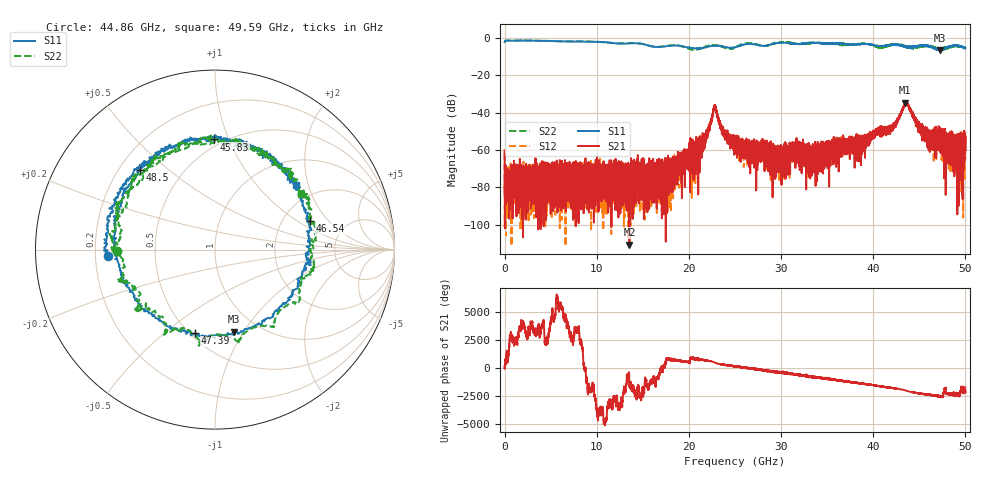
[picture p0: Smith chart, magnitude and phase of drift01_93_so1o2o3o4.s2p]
!Created with skrf (http://scikit-rf.org).
# Hz S RI R 50.0
!freq ReS11 ImS11 ReS21 ImS21 ReS12 ImS12 ReS22 ImS22
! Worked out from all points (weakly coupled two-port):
!   10001 points, 300 kHz to 50 GHz, reference 50 ohm
!   highest |S21| = -34.66 dB at 43.47 GHz (marker M1); lowest = -110.5 dB at 13.55 GHz (marker M2)
!   lowest |S11| = -6.6 dB at 47.21 GHz (marker M3), VSWR 2.77, Z = 38.5 - j45.2 ohm
!   |S11| at or under -10 dB: nowhere
!   |S22| runs from -6.6 to -1.4 dB; largest |S21 - S12| = 0.0042
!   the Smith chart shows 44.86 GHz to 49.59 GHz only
!   S11 on the Smith chart (normalised r, x): 44.86 GHz: 0.25, -0.03; 45.83 GHz: 0.45, +0.88; 46.54 GHz: 2.82, +1.30; 47.39 GHz: 0.53, -0.64; 48.5 GHz: 0.28, +0.40; 49.59 GHz: 1.55, +1.67
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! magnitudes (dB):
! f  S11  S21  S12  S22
! 300 kHz  -2.1  -60.2  -61.6  -2.1
! 440.3 MHz  -1.4  -74.7  -78.4  -1.4
! 8.335 GHz  -1.9  -73.7  -71.5  -1.8
! 13.55 GHz  -2.9  -110.5  -84.4  -2.7
! 16.67 GHz  -4.8  -69.3  -81.4  -4.8
! 20.99 GHz  -5.6  -57.1  -67.3  -6.1
! 22.8 GHz  -4.3  -36.4  -36.5  -4.0
! 23.72 GHz  -4.6  -50.1  -50.3  -4.9
! 25 GHz  -5.0  -57.4  -55.2  -5.1
! 29.49 GHz  -2.8  -68.5  -59.9  -2.7
! 31.59 GHz  -3.2  -59.2  -61.8  -3.1
! 33.34 GHz  -2.6  -66.8  -65.0  -2.6
! 41.67 GHz  -3.9  -50.2  -49.6  -4.3
! 43.47 GHz  -4.4  -34.7  -35.8  -4.7
! 44.86 GHz  -4.5  -46.0  -47.2  -5.2
! 45.83 GHz  -4.2  -51.7  -50.6  -4.3
! 46.54 GHz  -5.1  -56.4  -54.8  -4.9
! 47.21 GHz  -6.6  -52.6  -52.3  -5.8
! 47.39 GHz  -6.4  -53.1  -54.5  -5.6
! 48.5 GHz  -4.3  -57.0  -57.7  -4.9
! 49.59 GHz  -4.8  -59.0  -56.5  -4.9
! 50 GHz  -5.5  -53.1  -64.7  -5.4
